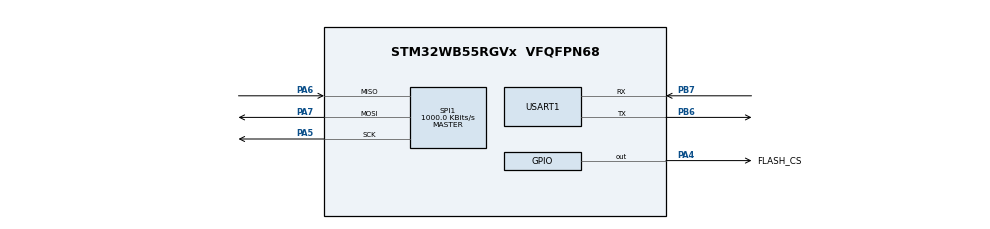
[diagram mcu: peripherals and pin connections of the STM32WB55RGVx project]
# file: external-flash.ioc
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Mcu.Family=STM32WB
PB7.GPIO_PuPd=GPIO_PULLUP
PA6.Mode=Full_Duplex_Master
RCC.CortexFreq_Value=64000000
PA7.Mode=Full_Duplex_Master
SPI1.VirtualType=VM_MASTER
PB6.GPIO_PuPd=GPIO_PULLUP
VP_TIM16_VS_ClockSourceINT.Mode=Enable_Timer
RCC.AHB2CLKDivider=RCC_SYSCLK_DIV2
RCC.SYSCLKSource=RCC_SYSCLKSOURCE_PLLCLK
ProjectManager.StackSize=0x400
USART1.VirtualMode-Asynchronous=VM_ASYNC
PA13.Signal=SYS_JTMS-SWDIO
ProjectManager.TargetToolchain=STM32CubeIDE
SPI1.Direction=SPI_DIRECTION_2LINES
RCC.HCLKFreq_Value=64000000
RCC.APB2TimFreq_Value=64000000
PB6.Signal=USART1_TX
PB6.Mode=Asynchronous
SPI1.CalculateBaudRate=1000.0 KBits/s
RCC.LSE_VALUE=32768
RCC.AHBFreq_Value=64000000
PA5.Signal=SPI1_SCK
RCC.HSE_VALUE=8000000
PB3.Mode=Trace_Asynchronous_SW
board=custom
RCC.Cortex2_Div=SYSTICK_CLKSOURCE_HCLK_DIV8
RCC.VCOOutputFreq_Value=128000000
TIM16.Period=9999
RCC.APB2Freq_Value=64000000
SPI1.Mode=SPI_MODE_MASTER
PA14.Mode=Trace_Asynchronous_SW
SPI1.DataSize=SPI_DATASIZE_8BIT
PB7.Signal=USART1_RX
PA13.Mode=Trace_Asynchronous_SW
Mcu.Name=STM32WB55RGVx
SPI1.NSSPMode=SPI_NSS_PULSE_DISABLE
RCC.APB3Freq_Value=16000000
PB3.Signal=SYS_JTDO-SWO
PA4.Signal=GPIO_Output
RCC.SYSCLKFreq_VALUE=64000000
Mcu.Package=VFQFPN68
PA6.Signal=SPI1_MISO
PB7.Mode=Asynchronous
PA14.Signal=SYS_JTCK-SWCLK
ProjectManager.HeapSize=0x200
RCC.HSI_VALUE=16000000
NVIC.TIM1_UP_TIM16_IRQn=true\:0\:0\:false\:false\:true\:true\:true
NVIC.PriorityGroup=NVIC_PRIORITYGROUP_4
RCC.PLLN=32
TIM16.AutoReloadPreload=TIM_AUTORELOAD_PRELOAD_ENABLE
RCC.APB1TimFreq_Value=64000000
TIM16.Prescaler=3199
PB6.GPIO_Speed=GPIO_SPEED_FREQ_VERY_HIGH
NVIC.USART1_IRQn=true\:0\:0\:false\:false\:true\:true\:true
RCC.APB1Freq_Value=64000000
SPI1.BaudRatePrescaler=SPI_BAUDRATEPRESCALER_64
PA4.GPIO_Label=FLASH_CS
RCC.HSI48_VALUE=48000000
PA7.Signal=SPI1_MOSI
PA5.Mode=Full_Duplex_Master
PB7.GPIO_Speed=GPIO_SPEED_FREQ_VERY_HIGH

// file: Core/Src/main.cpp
/* USER CODE BEGIN Header */
/**
  ******************************************************************************
  * @file           : main.c
  * @brief          : Main program body
  ******************************************************************************
  * @attention
  *
  * <h2><center>&copy; Copyright (c) 2021 STMicroelectronics.
  * All rights reserved.</center></h2>
  *
  * This software component is licensed by ST under BSD 3-Clause license,
  * the "License"; You may not use this file except in compliance with the
  * License. You may obtain a copy of the License at:
  *                        opensource.org/licenses/BSD-3-Clause
  *
  ******************************************************************************
  */
/* USER CODE END Header */
#include "main.h"
#include "spi.h"
#include "tim.h"
#include "usart.h"
#include "gpio.h"

/* USER CODE BEGIN Includes */
#include <stdio.h>
#include <string>

#include "printf_to_uart.c"
#include "w25qxx/w25qxx.h"
/* USER CODE END Includes */

/* USER CODE BEGIN PV */
uint8_t write_buffer[8] = {1,1,2,2,3,3,4,5};
uint8_t read_buffer[8];
/* USER CODE END PV */

void SystemClock_Config(void);

int main(void)
{

  /* MCU Configuration--------------------------------------------------------*/

  /* Reset of all peripherals, Initializes the Flash interface and the Systick. */
  HAL_Init();

  /* Configure the system clock */
  SystemClock_Config();

  /* Initialize all configured peripherals */
  MX_GPIO_Init();
  MX_TIM16_Init();
  MX_USART1_UART_Init();
  MX_SPI1_Init();
  /* USER CODE BEGIN 2 */

  HAL_TIM_Base_Start_IT(&htim16);
  printf("Timer16 Start \n");

  W25qxx_Init();
  W25qxx_EraseSector(1);
  W25qxx_WriteSector(write_buffer, 1, 0, 8);
  W25qxx_ReadSector(read_buffer, 1, 0, 8);

  std::string name = "test";

  name.length();

  /* USER CODE END 2 */

  /* Infinite loop */
  while (1)
  {

  }
}

void SystemClock_Config(void)
{
  RCC_OscInitTypeDef RCC_OscInitStruct = {0};
  RCC_ClkInitTypeDef RCC_ClkInitStruct = {0};
  RCC_PeriphCLKInitTypeDef PeriphClkInitStruct = {0};

  /** Configure the main internal regulator output voltage
  */
  __HAL_PWR_VOLTAGESCALING_CONFIG(PWR_REGULATOR_VOLTAGE_SCALE1);
  /** Initializes the RCC Oscillators according to the specified parameters
  * in the RCC_OscInitTypeDef structure.
  */
  RCC_OscInitStruct.OscillatorType = RCC_OSCILLATORTYPE_HSI|RCC_OSCILLATORTYPE_MSI;
  RCC_OscInitStruct.HSIState = RCC_HSI_ON;
  RCC_OscInitStruct.MSIState = RCC_MSI_ON;
  RCC_OscInitStruct.HSICalibrationValue = RCC_HSICALIBRATION_DEFAULT;
  RCC_OscInitStruct.MSICalibrationValue = RCC_MSICALIBRATION_DEFAULT;
  RCC_OscInitStruct.MSIClockRange = RCC_MSIRANGE_6;
  RCC_OscInitStruct.PLL.PLLState = RCC_PLL_ON;
  RCC_OscInitStruct.PLL.PLLSource = RCC_PLLSOURCE_MSI;
  RCC_OscInitStruct.PLL.PLLM = RCC_PLLM_DIV1;
  RCC_OscInitStruct.PLL.PLLN = 32;
  RCC_OscInitStruct.PLL.PLLP = RCC_PLLP_DIV2;
  RCC_OscInitStruct.PLL.PLLR = RCC_PLLR_DIV2;
  RCC_OscInitStruct.PLL.PLLQ = RCC_PLLQ_DIV2;
  if (HAL_RCC_OscConfig(&RCC_OscInitStruct) != HAL_OK)
  {
    Error_Handler();
  }
  /** Configure the SYSCLKSource, HCLK, PCLK1 and PCLK2 clocks dividers
  */
  RCC_ClkInitStruct.ClockType = RCC_CLOCKTYPE_HCLK4|RCC_CLOCKTYPE_HCLK2
                              |RCC_CLOCKTYPE_HCLK|RCC_CLOCKTYPE_SYSCLK
                              |RCC_CLOCKTYPE_PCLK1|RCC_CLOCKTYPE_PCLK2;
  RCC_ClkInitStruct.SYSCLKSource = RCC_SYSCLKSOURCE_PLLCLK;
  RCC_ClkInitStruct.AHBCLKDivider = RCC_SYSCLK_DIV1;
  RCC_ClkInitStruct.APB1CLKDivider = RCC_HCLK_DIV1;
  RCC_ClkInitStruct.APB2CLKDivider = RCC_HCLK_DIV1;
  RCC_ClkInitStruct.AHBCLK2Divider = RCC_SYSCLK_DIV2;
  RCC_ClkInitStruct.AHBCLK4Divider = RCC_SYSCLK_DIV1;

  if (HAL_RCC_ClockConfig(&RCC_ClkInitStruct, FLASH_LATENCY_3) != HAL_OK)
  {
    Error_Handler();
  }
  /** Initializes the peripherals clocks
  */
  PeriphClkInitStruct.PeriphClockSelection = RCC_PERIPHCLK_SMPS|RCC_PERIPHCLK_USART1;
  PeriphClkInitStruct.Usart1ClockSelection = RCC_USART1CLKSOURCE_PCLK2;
  PeriphClkInitStruct.SmpsClockSelection = RCC_SMPSCLKSOURCE_HSI;
  PeriphClkInitStruct.SmpsDivSelection = RCC_SMPSCLKDIV_RANGE1;
  if (HAL_RCCEx_PeriphCLKConfig(&PeriphClkInitStruct) != HAL_OK)
  {
    Error_Handler();
  }
}

/* USER CODE BEGIN 4 */

void HAL_TIM_PeriodElapsedCallback(TIM_HandleTypeDef *htim)
{
	if(htim->Instance == TIM16)
	{
		printf("read[0] = %d \n", read_buffer[0]);
		printf("read[4] = %d \n", read_buffer[4]);
		printf("write[0] = %d \n", write_buffer[0]);
		printf("write[4] = %d \n", write_buffer[4]);
		printf("timer event 4 \n");
	}
}

/* USER CODE END 4 */

void Error_Handler(void)
{
  __disable_irq();
  while (1)
  {
  }
}

/************************ (C) COPYRIGHT STMicroelectronics *****END OF FILE****/
